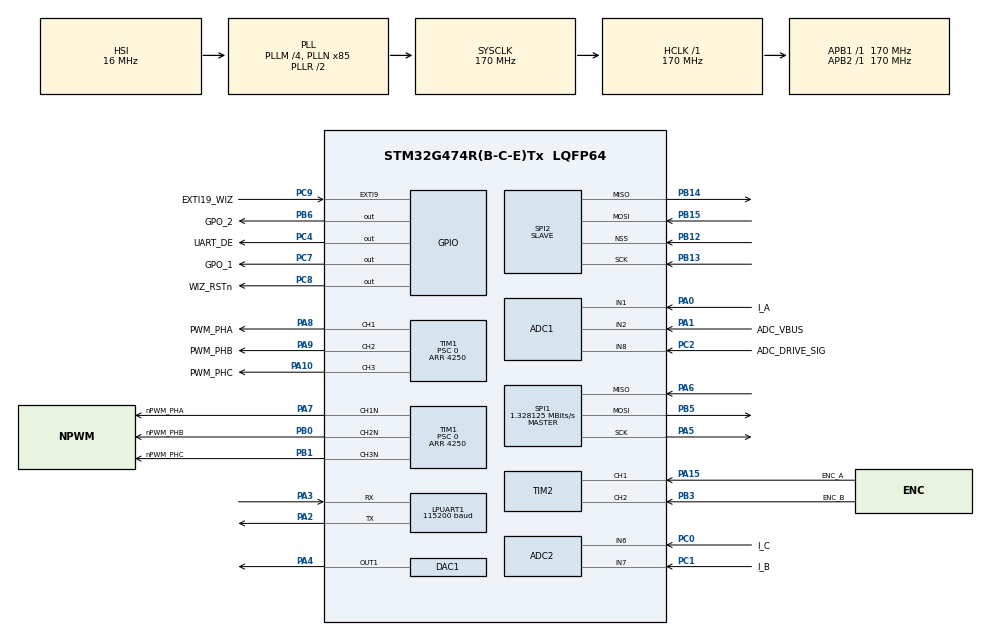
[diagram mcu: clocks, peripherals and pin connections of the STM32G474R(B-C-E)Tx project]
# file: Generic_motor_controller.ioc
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ADC1.Channel-0\#ChannelRegularConversion=ADC_CHANNEL_1
ADC1.ExternalTrigConv=ADC_EXTERNALTRIG_T1_TRGO
ADC1.Mode=ADC_DUALMODE_REGSIMULT
ADC1.NbrOfConversion=1
ADC1.NbrOfConversionFlag=1
ADC1.OffsetNumber-0\#ChannelRegularConversion=ADC_OFFSET_NONE
ADC1.Rank-0\#ChannelRegularConversion=1
ADC1.SamplingTime-0\#ChannelRegularConversion=ADC_SAMPLETIME_92CYCLES_5
ADC1.master=1
ADC2.Channel-1\#ChannelRegularConversion=ADC_CHANNEL_6
ADC2.Mode=ADC_DUALMODE_REGSIMULT
ADC2.NbrOfConversionFlag=1
ADC2.OffsetNumber-1\#ChannelRegularConversion=ADC_OFFSET_NONE
ADC2.Rank-1\#ChannelRegularConversion=1
ADC2.SamplingTime-1\#ChannelRegularConversion=ADC_SAMPLETIME_92CYCLES_5
Dma.LPUART1_RX.0.Direction=DMA_PERIPH_TO_MEMORY
Dma.LPUART1_RX.0.EventEnable=DISABLE
Dma.LPUART1_RX.0.Instance=DMA1_Channel1
Dma.LPUART1_RX.0.MemDataAlignment=DMA_MDATAALIGN_BYTE
Dma.LPUART1_RX.0.MemInc=DMA_MINC_ENABLE
Dma.LPUART1_RX.0.Mode=DMA_CIRCULAR
Dma.LPUART1_RX.0.PeriphDataAlignment=DMA_PDATAALIGN_BYTE
Dma.LPUART1_RX.0.PeriphInc=DMA_PINC_DISABLE
Dma.LPUART1_RX.0.Polarity=HAL_DMAMUX_REQ_GEN_RISING
Dma.LPUART1_RX.0.Priority=DMA_PRIORITY_LOW
Dma.LPUART1_RX.0.RequestNumber=1
Dma.LPUART1_RX.0.SignalID=NONE
Dma.LPUART1_RX.0.SyncEnable=DISABLE
Dma.LPUART1_RX.0.SyncPolarity=HAL_DMAMUX_SYNC_NO_EVENT
Dma.LPUART1_RX.0.SyncRequestNumber=1
Dma.LPUART1_RX.0.SyncSignalID=NONE
Dma.LPUART1_TX.1.Direction=DMA_MEMORY_TO_PERIPH
Dma.LPUART1_TX.1.EventEnable=DISABLE
Dma.LPUART1_TX.1.Instance=DMA1_Channel2
Dma.LPUART1_TX.1.MemDataAlignment=DMA_MDATAALIGN_BYTE
Dma.LPUART1_TX.1.MemInc=DMA_MINC_ENABLE
Dma.LPUART1_TX.1.Mode=DMA_NORMAL
Dma.LPUART1_TX.1.PeriphDataAlignment=DMA_PDATAALIGN_BYTE
Dma.LPUART1_TX.1.PeriphInc=DMA_PINC_DISABLE
Dma.LPUART1_TX.1.Polarity=HAL_DMAMUX_REQ_GEN_RISING
Dma.LPUART1_TX.1.Priority=DMA_PRIORITY_LOW
Dma.LPUART1_TX.1.RequestNumber=1
Dma.LPUART1_TX.1.SignalID=NONE
Dma.LPUART1_TX.1.SyncEnable=DISABLE
Dma.LPUART1_TX.1.SyncPolarity=HAL_DMAMUX_SYNC_NO_EVENT
Dma.LPUART1_TX.1.SyncRequestNumber=1
Dma.LPUART1_TX.1.SyncSignalID=NONE
Dma.Request0=LPUART1_RX
Dma.Request1=LPUART1_TX
Dma.Request2=SPI1_RX
Dma.Request3=SPI1_TX
Dma.Request4=SPI2_RX
Dma.Request5=SPI2_TX
Dma.SPI1_RX.2.Direction=DMA_PERIPH_TO_MEMORY
Dma.SPI1_RX.2.EventEnable=DISABLE
Dma.SPI1_RX.2.Instance=DMA1_Channel3
Dma.SPI1_RX.2.MemDataAlignment=DMA_MDATAALIGN_HALFWORD
Dma.SPI1_RX.2.MemInc=DMA_MINC_ENABLE
Dma.SPI1_RX.2.Mode=DMA_NORMAL
Dma.SPI1_RX.2.PeriphDataAlignment=DMA_PDATAALIGN_HALFWORD
Dma.SPI1_RX.2.PeriphInc=DMA_PINC_DISABLE
Dma.SPI1_RX.2.Polarity=HAL_DMAMUX_REQ_GEN_RISING
Dma.SPI1_RX.2.Priority=DMA_PRIORITY_LOW
Dma.SPI1_RX.2.RequestNumber=1
Dma.SPI1_RX.2.SignalID=NONE
Dma.SPI1_RX.2.SyncEnable=DISABLE
Dma.SPI1_RX.2.SyncPolarity=HAL_DMAMUX_SYNC_NO_EVENT
Dma.SPI1_RX.2.SyncRequestNumber=1
Dma.SPI1_RX.2.SyncSignalID=NONE
Dma.SPI1_TX.3.Direction=DMA_MEMORY_TO_PERIPH
Dma.SPI1_TX.3.EventEnable=DISABLE
Dma.SPI1_TX.3.Instance=DMA1_Channel4
Dma.SPI1_TX.3.MemDataAlignment=DMA_MDATAALIGN_HALFWORD
Dma.SPI1_TX.3.MemInc=DMA_MINC_ENABLE
Dma.SPI1_TX.3.Mode=DMA_NORMAL
Dma.SPI1_TX.3.PeriphDataAlignment=DMA_PDATAALIGN_HALFWORD
Dma.SPI1_TX.3.PeriphInc=DMA_PINC_DISABLE
Dma.SPI1_TX.3.Polarity=HAL_DMAMUX_REQ_GEN_RISING
Dma.SPI1_TX.3.Priority=DMA_PRIORITY_LOW
Dma.SPI1_TX.3.RequestNumber=1
Dma.SPI1_TX.3.SignalID=NONE
Dma.SPI1_TX.3.SyncEnable=DISABLE
Dma.SPI1_TX.3.SyncPolarity=HAL_DMAMUX_SYNC_NO_EVENT
Dma.SPI1_TX.3.SyncRequestNumber=1
Dma.SPI1_TX.3.SyncSignalID=NONE
Dma.SPI2_RX.4.Direction=DMA_PERIPH_TO_MEMORY
Dma.SPI2_RX.4.EventEnable=DISABLE
Dma.SPI2_RX.4.Instance=DMA1_Channel5
Dma.SPI2_RX.4.MemDataAlignment=DMA_MDATAALIGN_BYTE
Dma.SPI2_RX.4.MemInc=DMA_MINC_ENABLE
Dma.SPI2_RX.4.Mode=DMA_NORMAL
Dma.SPI2_RX.4.PeriphDataAlignment=DMA_PDATAALIGN_BYTE
Dma.SPI2_RX.4.PeriphInc=DMA_PINC_DISABLE
Dma.SPI2_RX.4.Polarity=HAL_DMAMUX_REQ_GEN_RISING
Dma.SPI2_RX.4.Priority=DMA_PRIORITY_LOW
Dma.SPI2_RX.4.RequestNumber=1
Dma.SPI2_RX.4.SignalID=NONE
Dma.SPI2_RX.4.SyncEnable=DISABLE
Dma.SPI2_RX.4.SyncPolarity=HAL_DMAMUX_SYNC_NO_EVENT
Dma.SPI2_RX.4.SyncRequestNumber=1
Dma.SPI2_RX.4.SyncSignalID=NONE
Dma.SPI2_TX.5.Direction=DMA_MEMORY_TO_PERIPH
Dma.SPI2_TX.5.EventEnable=DISABLE
Dma.SPI2_TX.5.Instance=DMA1_Channel6
Dma.SPI2_TX.5.MemDataAlignment=DMA_MDATAALIGN_BYTE
Dma.SPI2_TX.5.MemInc=DMA_MINC_ENABLE
Dma.SPI2_TX.5.Mode=DMA_NORMAL
Dma.SPI2_TX.5.PeriphDataAlignment=DMA_PDATAALIGN_BYTE
Dma.SPI2_TX.5.PeriphInc=DMA_PINC_DISABLE
Dma.SPI2_TX.5.Polarity=HAL_DMAMUX_REQ_GEN_RISING
Dma.SPI2_TX.5.Priority=DMA_PRIORITY_LOW
Dma.SPI2_TX.5.RequestNumber=1
Dma.SPI2_TX.5.SignalID=NONE
Dma.SPI2_TX.5.SyncEnable=DISABLE
Dma.SPI2_TX.5.SyncPolarity=HAL_DMAMUX_SYNC_NO_EVENT
Dma.SPI2_TX.5.SyncRequestNumber=1
Dma.SPI2_TX.5.SyncSignalID=NONE
LPUART1.BaudRate=115200
Mcu.Family=STM32G4
Mcu.Name=STM32G474R(B-C-E)Tx
Mcu.Package=LQFP64
NVIC.ADC1_2_IRQn=true\:0\:0\:false\:false\:true\:true\:true\:true
NVIC.CORDIC_IRQn=true\:0\:0\:false\:false\:true\:true\:true\:true
NVIC.DMA1_Channel1_IRQn=true\:3\:0\:true\:false\:true\:false\:true\:true
NVIC.DMA1_Channel2_IRQn=true\:3\:0\:true\:false\:true\:false\:true\:true
NVIC.DMA1_Channel3_IRQn=true\:1\:0\:true\:false\:true\:false\:true\:true
NVIC.DMA1_Channel4_IRQn=true\:1\:0\:true\:false\:true\:false\:true\:true
NVIC.DMA1_Channel5_IRQn=true\:3\:0\:true\:false\:true\:false\:true\:true
NVIC.DMA1_Channel6_IRQn=true\:3\:0\:true\:false\:true\:false\:true\:true
NVIC.LPUART1_IRQn=true\:3\:0\:true\:false\:true\:true\:true\:true
NVIC.PriorityGroup=NVIC_PRIORITYGROUP_4
NVIC.SPI1_IRQn=true\:0\:0\:false\:false\:true\:true\:true\:true
NVIC.SPI2_IRQn=true\:3\:0\:true\:false\:true\:true\:true\:true
NVIC.TIM1_UP_TIM16_IRQn=true\:0\:0\:false\:false\:true\:true\:true\:true
NVIC.TIM7_DAC_IRQn=true\:2\:0\:true\:false\:true\:true\:true\:true
PA0.GPIO_Label=I_A
PA0.Mode=IN1-Single-Ended
PA0.Signal=ADC1_IN1
PA1.GPIO_Label=ADC_VBUS
PA1.Mode=IN2-Single-Ended
PA1.Signal=ADC1_IN2
PA10.GPIO_Label=PWM_PHC
PA10.Signal=S_TIM1_CH3
PA13.GPIO_Label=T_SWDIO
PA13.Mode=Serial_Wire
PA13.Signal=SYS_JTMS-SWDIO
PA14.GPIO_Label=T_SWCLK
PA14.Mode=Serial_Wire
PA14.Signal=SYS_JTCK-SWCLK
PA15.GPIO_Label=ENC_A
PA15.Signal=S_TIM2_CH1
PA2.Mode=Asynchronous
PA2.Signal=LPUART1_TX
PA3.Mode=Asynchronous
PA3.Signal=LPUART1_RX
PA4.Signal=COMP_DAC11_group
PA5.Mode=Full_Duplex_Master
PA5.Signal=SPI1_SCK
PA6.Mode=Full_Duplex_Master
PA6.Signal=SPI1_MISO
PA7.GPIO_Label=nPWM_PHA
PA7.Mode=PWM Generation1 CH1 CH1N
PA7.Signal=TIM1_CH1N
PA8.GPIO_Label=PWM_PHA
PA8.Signal=S_TIM1_CH1
PA9.GPIO_Label=PWM_PHB
PA9.Signal=S_TIM1_CH2
PB0.GPIO_Label=nPWM_PHB
PB0.Mode=PWM Generation2 CH2 CH2N
PB0.Signal=TIM1_CH2N
PB1.GPIO_Label=nPWM_PHC
PB1.Mode=PWM Generation3 CH3 CH3N
PB1.Signal=TIM1_CH3N
PB12.Mode=NSS_Signal_Hard_Input
PB12.Signal=SPI2_NSS
PB13.Mode=Full_Duplex_Slave
PB13.Signal=SPI2_SCK
PB14.Mode=Full_Duplex_Slave
PB14.Signal=SPI2_MISO
PB15.Mode=Full_Duplex_Slave
PB15.Signal=SPI2_MOSI
PB3.GPIO_Label=ENC_B
PB3.Signal=S_TIM2_CH2
PB5.Mode=Full_Duplex_Master
PB5.Signal=SPI1_MOSI
PB6.GPIO_Label=GPO_2
PB6.Signal=GPIO_Output
PC0.GPIO_Label=I_C
PC0.Mode=IN6-Single-Ended
PC0.Signal=ADC2_IN6
PC1.GPIO_Label=I_B
PC1.Mode=IN7-Single-Ended
PC1.Signal=ADC2_IN7
PC14-OSC32_IN.GPIO_Label=RCC_OSC32_IN
PC14-OSC32_IN.Mode=LSE-External-Oscillator
PC14-OSC32_IN.Signal=RCC_OSC32_IN
PC15-OSC32_OUT.GPIO_Label=RCC_OSC32_OUT
PC15-OSC32_OUT.Mode=LSE-External-Oscillator
PC15-OSC32_OUT.Signal=RCC_OSC32_OUT
PC2.GPIO_Label=ADC_DRIVE_SIG
PC2.Mode=IN8-Single-Ended
PC2.Signal=ADC1_IN8
PC4.GPIO_Label=UART_DE
PC4.Signal=GPIO_Output
PC7.GPIO_Label=GPO_1
PC7.Signal=GPIO_Output
PC8.GPIO_Label=WIZ_RSTn
PC8.Signal=GPIO_Output
PC9.GPIO_Label=EXTI19_WIZ
PC9.Signal=GPXTI9
PF0-OSC_IN.GPIO_Label=RCC_OSC_IN
PF0-OSC_IN.Mode=HSE-External-Oscillator
PF0-OSC_IN.Signal=RCC_OSC_IN
PF1-OSC_OUT.GPIO_Label=RCC_OSC_OUT
PF1-OSC_OUT.Mode=HSE-External-Oscillator
PF1-OSC_OUT.Signal=RCC_OSC_OUT
ProjectManager.HeapSize=0x200
ProjectManager.StackSize=0x400
ProjectManager.TargetToolchain=STM32CubeIDE
RCC.ADC12Freq_Value=170000000
RCC.ADC345Freq_Value=170000000
RCC.AHBFreq_Value=170000000
RCC.APB1Freq_Value=170000000
RCC.APB1TimFreq_Value=170000000
RCC.APB2Freq_Value=170000000
RCC.APB2TimFreq_Value=170000000
RCC.CortexFreq_Value=170000000
RCC.EXTERNAL_CLOCK_VALUE=12288000
RCC.HCLKFreq_Value=170000000
RCC.HSE_VALUE=24000000
RCC.HSI48_VALUE=48000000
RCC.HSI_VALUE=16000000
RCC.PLLM=RCC_PLLM_DIV4
RCC.PLLN=85
RCC.RTCClockSelection=RCC_RTCCLKSOURCE_LSE
RCC.SYSCLKFreq_VALUE=170000000
RCC.SYSCLKSource=RCC_SYSCLKSOURCE_PLLCLK
RCC.USBFreq_Value=170000000
RCC.VCOOutputFreq_Value=340000000
SH.COMP_DAC11_group.0=DAC1_OUT1,DAC_OUT1
SH.S_TIM1_CH1.0=TIM1_CH1,PWM Generation1 CH1 CH1N
SH.S_TIM1_CH2.0=TIM1_CH2,PWM Generation2 CH2 CH2N
SH.S_TIM1_CH3.0=TIM1_CH3,PWM Generation3 CH3 CH3N
SH.S_TIM2_CH1.0=TIM2_CH1,Encoder_Interface
SH.S_TIM2_CH2.0=TIM2_CH2,Encoder_Interface
SPI1.BaudRatePrescaler=SPI_BAUDRATEPRESCALER_128
SPI1.CLKPhase=SPI_PHASE_1EDGE
SPI1.CLKPolarity=SPI_POLARITY_HIGH
SPI1.CalculateBaudRate=1.328125 MBits/s
SPI1.DataSize=SPI_DATASIZE_16BIT
SPI1.Direction=SPI_DIRECTION_2LINES
SPI1.Mode=SPI_MODE_MASTER
SPI1.VirtualType=VM_MASTER
SPI2.DataSize=SPI_DATASIZE_8BIT
SPI2.Direction=SPI_DIRECTION_2LINES
SPI2.Mode=SPI_MODE_SLAVE
SPI2.VirtualNSS=VM_NSSHARD
SPI2.VirtualType=VM_SLAVE
TIM1.AutoReloadPreload=TIM_AUTORELOAD_PRELOAD_ENABLE
TIM1.Channel-PWM\ Generation1\ CH1\ CH1N=TIM_CHANNEL_1
TIM1.Channel-PWM\ Generation2\ CH2\ CH2N=TIM_CHANNEL_2
TIM1.Channel-PWM\ Generation3\ CH3\ CH3N=TIM_CHANNEL_3
TIM1.Channel-PWM\ Generation4\ No\ Output=TIM_CHANNEL_4
TIM1.CounterMode=TIM_COUNTERMODE_CENTERALIGNED1
TIM1.DeadTime=200
TIM1.DeadTimePreload=DISABLE
TIM1.OCMode_PWM-PWM\ Generation4\ No\ Output=TIM_OCMODE_PWM1
TIM1.OCNPolarity_1=TIM_OCNPOLARITY_LOW
TIM1.OCNPolarity_2=TIM_OCNPOLARITY_LOW
TIM1.OCNPolarity_3=TIM_OCNPOLARITY_LOW
TIM1.OCPolarity_4=TIM_OCPOLARITY_HIGH
TIM1.PeriodNoDither=4250
TIM1.Prescaler=0
TIM1.PulseNoDither_1=2125
TIM1.PulseNoDither_4=4249
TIM1.RepetitionCounter=0
TIM1.TIM_MasterOutputTrigger=TIM_TRGO_OC4REF
TIM2.EncoderMode=TIM_ENCODERMODE_TI12
TIM2.IC1Filter=15
TIM2.IC2Filter=15
TIM2.IC2Prescaler=TIM_ICPSC_DIV1
TIM7.AutoReloadPreload=TIM_AUTORELOAD_PRELOAD_ENABLE
TIM7.PeriodNoDither=999
TIM7.Prescaler=169
VP_CORDIC_VS_CORDIC.Mode=CORDIC_Activate
VP_SYS_VS_DBSignals.Mode=DisableDeadBatterySignals
VP_TIM1_VS_no_output4.Mode=PWM Generation4 No Output
VP_TIM7_VS_ClockSourceINT.Mode=Enable_Timer
board=NUCLEO-G474RE

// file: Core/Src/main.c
/* USER CODE BEGIN Header */
/**
  ******************************************************************************
  * @file           : main.c
  * @brief          : Main program body
  ******************************************************************************
  * @attention
  *
  * Copyright (c) 2026 STMicroelectronics.
  * All rights reserved.
  *
  * This software is licensed under terms that can be found in the LICENSE file
  * in the root directory of this software component.
  * If no LICENSE file comes with this software, it is provided AS-IS.
  *
  ******************************************************************************
  */
/* USER CODE END Header */
#include "main.h"
#include "adc.h"
#include "cordic.h"
#include "dac.h"
#include "dma.h"
#include "usart.h"
#include "spi.h"
#include "tim.h"
#include "gpio.h"

/* USER CODE BEGIN Includes */
#include "mc_scheduler.h"
#include "mc_debug.h"
#include "mc_spi_slave.h"
/* USER CODE END Includes */

void SystemClock_Config(void);

int main(void)
{

  /* USER CODE BEGIN 1 */
  /* Dual-bootloader (REQ-0015 / ADR-064): this app is linked at 0x08008800 and
     is launched by the bootloader, which sets VTOR before jumping. Set VTOR here
     too so interrupts route to the app's vector table regardless of how execution
     arrived (e.g. a standalone debugger load). Must run before HAL_Init enables
     SysTick. */
  SCB->VTOR = 0x08008800u;
  /* USER CODE END 1 */

  /* MCU Configuration--------------------------------------------------------*/

  /* Reset of all peripherals, Initializes the Flash interface and the Systick. */
  HAL_Init();

  /* Configure the system clock */
  SystemClock_Config();

  /* Initialize all configured peripherals */
  MX_GPIO_Init();
  MX_DMA_Init();
  MX_ADC1_Init();
  MX_ADC2_Init();
  MX_DAC1_Init();
  MX_LPUART1_UART_Init();
  MX_TIM1_Init();
  MX_TIM2_Init();
  MX_SPI1_Init();
  MX_CORDIC_Init();
  MX_SPI2_Init();
  MX_TIM7_Init();
  /* USER CODE BEGIN 2 */
  /* Framework software init, then start the timing domains (see ADR-006).
       - Medium 1 kHz: TIM7 update interrupt.
       - Fast 20 kHz : ADC end-of-conversion. The ADC is hardware-triggered by TIM1
         TRGO=OC4REF (CH4=4249, the counter peak), so the sample lands in the low-side
         conduction window -- the proven, sample-synchronised FOC trigger.
     TIM1 runs as the PWM time base (counter only) to generate OC4REF/TRGO; the PWM pin
     outputs stay DISABLED (safe-off) until deliberately enabled for a bench test. */
  MC_Framework_Init();

  HAL_TIM_Base_Start_IT(&htim7);          /* 1 kHz medium loop */
  HAL_TIM_Base_Start(&htim1);             /* PWM time base: generates OC4REF/TRGO, outputs off */
  HAL_TIM_Encoder_Start(&htim2, TIM_CHANNEL_ALL);  /* quadrature encoder count on TIM2 (PA15/PB3), ADR-050 */

  HAL_ADCEx_Calibration_Start(&hadc1, ADC_SINGLE_ENDED);
  HAL_ADCEx_Calibration_Start(&hadc2, ADC_SINGLE_ENDED);
  HAL_ADC_Start(&hadc2);                  /* ADC2 slave first (dual regular-simultaneous) */
  HAL_ADC_Start_IT(&hadc1);               /* ADC1 master triggers both; EOC drives the fast loop */

  /* The inter-MCU SPI2 slave DMA/IRQ stay at the CubeMX priority 3 -- intentionally BELOW the
     1 kHz medium loop (TIM7 = prio 2) and 20 kHz fast loop (prio 0): control always preempts
     comms. The pipelined double-buffer (mc_spi_slave) keeps the re-arm prompt without an inverted
     priority; master-side frame-burst discipline is a network-MCU concern (see ADR-016). */
  MC_SpiSlave_Init();                     /* arm the inter-MCU SPI2-slave DMA (F2b) */

  /* Heartbeat LED on PB11 (push-pull output) -- toggled in the main loop below
     as a "code is running" indicator: 1 s on / 1 s off (2 s period, 50% duty).
     GPIOB clock is already enabled by MX_GPIO_Init. */
  {
    GPIO_InitTypeDef led = {0};
    led.Pin   = GPIO_PIN_11;
    led.Mode  = GPIO_MODE_OUTPUT_PP;
    led.Pull  = GPIO_NOPULL;
    led.Speed = GPIO_SPEED_FREQ_LOW;
    HAL_GPIO_Init(GPIOB, &led);
  }
  /* USER CODE END 2 */

  /* Infinite loop */
  while (1)
  {

    /* USER CODE BEGIN 3 */
    /* Heartbeat: PB11 high for the 2nd half of each 2 s window, low for the 1st
       (HAL_GetTick()/1000 alternates 0/1 every second). */
    HAL_GPIO_WritePin(GPIOB, GPIO_PIN_11,
                      ((HAL_GetTick() / 1000u) & 1u) ? GPIO_PIN_SET : GPIO_PIN_RESET);
    MC_Sched_ServiceBackground();
  }
  /* USER CODE END 3 */
}

void SystemClock_Config(void)
{
  RCC_OscInitTypeDef RCC_OscInitStruct = {0};
  RCC_ClkInitTypeDef RCC_ClkInitStruct = {0};

  /** Configure the main internal regulator output voltage
  */
  HAL_PWREx_ControlVoltageScaling(PWR_REGULATOR_VOLTAGE_SCALE1_BOOST);

  /** Initializes the RCC Oscillators according to the specified parameters
  * in the RCC_OscInitTypeDef structure.
  */
  RCC_OscInitStruct.OscillatorType = RCC_OSCILLATORTYPE_HSI;
  RCC_OscInitStruct.HSIState = RCC_HSI_ON;
  RCC_OscInitStruct.HSICalibrationValue = RCC_HSICALIBRATION_DEFAULT;
  RCC_OscInitStruct.PLL.PLLState = RCC_PLL_ON;
  RCC_OscInitStruct.PLL.PLLSource = RCC_PLLSOURCE_HSI;
  RCC_OscInitStruct.PLL.PLLM = RCC_PLLM_DIV4;
  RCC_OscInitStruct.PLL.PLLN = 85;
  RCC_OscInitStruct.PLL.PLLP = RCC_PLLP_DIV2;
  RCC_OscInitStruct.PLL.PLLQ = RCC_PLLQ_DIV2;
  RCC_OscInitStruct.PLL.PLLR = RCC_PLLR_DIV2;
  if (HAL_RCC_OscConfig(&RCC_OscInitStruct) != HAL_OK)
  {
    Error_Handler();
  }

  /** Initializes the CPU, AHB and APB buses clocks
  */
  RCC_ClkInitStruct.ClockType = RCC_CLOCKTYPE_HCLK|RCC_CLOCKTYPE_SYSCLK
                              |RCC_CLOCKTYPE_PCLK1|RCC_CLOCKTYPE_PCLK2;
  RCC_ClkInitStruct.SYSCLKSource = RCC_SYSCLKSOURCE_PLLCLK;
  RCC_ClkInitStruct.AHBCLKDivider = RCC_SYSCLK_DIV1;
  RCC_ClkInitStruct.APB1CLKDivider = RCC_HCLK_DIV1;
  RCC_ClkInitStruct.APB2CLKDivider = RCC_HCLK_DIV1;

  if (HAL_RCC_ClockConfig(&RCC_ClkInitStruct, FLASH_LATENCY_4) != HAL_OK)
  {
    Error_Handler();
  }
}

/* USER CODE BEGIN 4 */
/**
  * @brief Medium-loop dispatch: TIM7 update -> 1 kHz motion loop (see ADR-006).
  */
void HAL_TIM_PeriodElapsedCallback(TIM_HandleTypeDef *htim)
{
  if (htim->Instance == TIM7)
  {
    MC_Sched_MediumTick();
  }
}

/**
  * @brief Fast-loop dispatch: ADC1 end-of-conversion -> 20 kHz fast loop (see ADR-006).
  *        The ADC is TIM1-TRGO triggered at the PWM peak, so this runs once per PWM period
  *        synchronised to the current sample. GPO_1 (PC7) is pulsed as a scope marker.
  */
void HAL_ADC_ConvCpltCallback(ADC_HandleTypeDef *hadc)
{
  if (hadc->Instance == ADC1)
  {
    HAL_GPIO_WritePin(GPO_1_GPIO_Port, GPO_1_Pin, GPIO_PIN_SET);
    MC_Sched_FastTick();
    HAL_GPIO_WritePin(GPO_1_GPIO_Port, GPO_1_Pin, GPIO_PIN_RESET);
  }
}
/* USER CODE END 4 */

void Error_Handler(void)
{
  __disable_irq();
  while (1)
  {
  }
}
